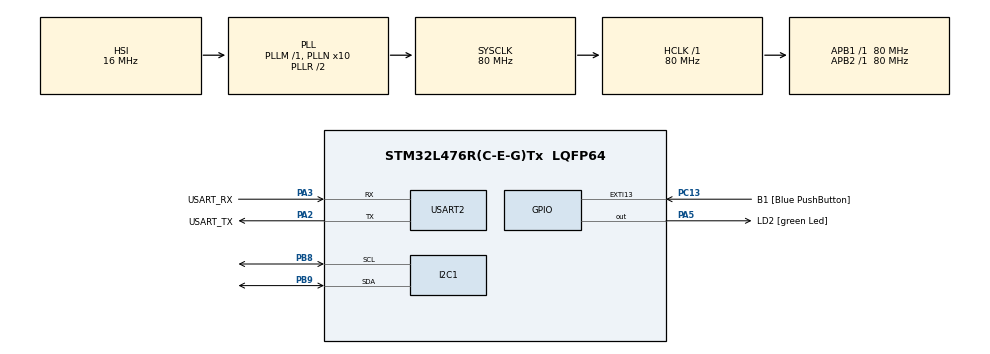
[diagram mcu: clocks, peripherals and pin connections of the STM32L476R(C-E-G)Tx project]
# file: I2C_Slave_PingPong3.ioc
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I2C1.OwnAddress=0x42
I2C1.Timing=0x10D19CE4
Mcu.Family=STM32L4
Mcu.Name=STM32L476R(C-E-G)Tx
Mcu.Package=LQFP64
NVIC.I2C1_ER_IRQn=true\:0\:0\:false\:false\:true\:true\:true\:true
NVIC.I2C1_EV_IRQn=true\:0\:0\:false\:false\:true\:true\:true\:true
NVIC.PriorityGroup=NVIC_PRIORITYGROUP_4
PA13\ (JTMS-SWDIO).GPIO_Label=TMS
PA13\ (JTMS-SWDIO).Mode=Serial_Wire
PA13\ (JTMS-SWDIO).Signal=SYS_JTMS-SWDIO
PA14\ (JTCK-SWCLK).GPIO_Label=TCK
PA14\ (JTCK-SWCLK).Mode=Serial_Wire
PA14\ (JTCK-SWCLK).Signal=SYS_JTCK-SWCLK
PA2.GPIO_Label=USART_TX
PA2.GPIO_Mode=GPIO_MODE_AF_PP
PA2.GPIO_PuPd=GPIO_NOPULL
PA2.GPIO_Speed=GPIO_SPEED_FREQ_VERY_HIGH
PA2.Mode=Asynchronous
PA2.Signal=USART2_TX
PA3.GPIO_Label=USART_RX
PA3.GPIO_Mode=GPIO_MODE_AF_PP
PA3.GPIO_PuPd=GPIO_NOPULL
PA3.GPIO_Speed=GPIO_SPEED_FREQ_VERY_HIGH
PA3.Mode=Asynchronous
PA3.Signal=USART2_RX
PA5.GPIO_Label=LD2 [green Led]
PA5.GPIO_ModeDefaultOutputPP=GPIO_MODE_OUTPUT_PP
PA5.GPIO_PuPd=GPIO_NOPULL
PA5.GPIO_Speed=GPIO_SPEED_FREQ_LOW
PA5.Signal=GPIO_Output
PB3\ (JTDO-TRACESWO).GPIO_Label=SWO
PB3\ (JTDO-TRACESWO).Signal=SYS_JTDO-SWO
PB8.GPIO_Pu=GPIO_PULLUP
PB8.Mode=I2C
PB8.Signal=I2C1_SCL
PB9.GPIO_Pu=GPIO_PULLUP
PB9.Mode=I2C
PB9.Signal=I2C1_SDA
PC13.GPIO_Label=B1 [Blue PushButton]
PC13.GPIO_ModeDefaultEXTI=GPIO_MODE_IT_FALLING
PC13.GPIO_PuPd=GPIO_NOPULL
PC13.Signal=GPXTI13
PC14-OSC32_IN\ (PC14).Mode=LSE-External-Oscillator
PC14-OSC32_IN\ (PC14).Signal=RCC_OSC32_IN
PC15-OSC32_OUT\ (PC15).Mode=LSE-External-Oscillator
PC15-OSC32_OUT\ (PC15).Signal=RCC_OSC32_OUT
PH0-OSC_IN\ (PH0).Signal=RCC_OSC_IN
PH1-OSC_OUT\ (PH1).Signal=RCC_OSC_OUT
ProjectManager.HeapSize=0x200
ProjectManager.StackSize=0x400
ProjectManager.TargetToolchain=STM32CubeIDE
RCC.ADCFreq_Value=64000000
RCC.AHBFreq_Value=80000000
RCC.APB1Freq_Value=80000000
RCC.APB1TimFreq_Value=80000000
RCC.APB2Freq_Value=80000000
RCC.APB2TimFreq_Value=80000000
RCC.CortexFreq_Value=80000000
RCC.HCLKFreq_Value=80000000
RCC.HSE_VALUE=8000000
RCC.HSI_VALUE=16000000
RCC.MSI_VALUE=4000000
RCC.PLLN=10
RCC.PLLSourceVirtual=RCC_PLLSOURCE_HSI
RCC.PREFETCH_ENABLE=1
RCC.SYSCLKFreq_VALUE=80000000
RCC.SYSCLKSource=RCC_SYSCLKSOURCE_PLLCLK
RCC.USBFreq_Value=64000000
RCC.VCOOutputFreq_Value=160000000
USART2.VirtualMode-Asynchronous=VM_ASYNC
board=NUCLEO-L476RG

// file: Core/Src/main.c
/* USER CODE BEGIN Header */
/**
  ******************************************************************************
  * @file           : main.c
  * @brief          : Main program body
  ******************************************************************************
  * @attention
  *
  * Copyright (c) 2025 STMicroelectronics.
  * All rights reserved.
  *
  * This software is licensed under terms that can be found in the LICENSE file
  * in the root directory of this software component.
  * If no LICENSE file comes with this software, it is provided AS-IS.
  *
  ******************************************************************************
  */
/* USER CODE END Header */
#include "main.h"
#include "string.h"

I2C_HandleTypeDef hi2c1;

UART_HandleTypeDef huart2;

/* USER CODE BEGIN PV */
#define PING_CMD_LEN  4
#define PONG_RSP_LEN  4

uint8_t rxData[PING_CMD_LEN];
uint8_t txData[PONG_RSP_LEN] = "PONG";
/* USER CODE END PV */

void SystemClock_Config(void);
static void MX_GPIO_Init(void);
static void MX_USART2_UART_Init(void);
static void MX_I2C1_Init(void);

int main(void)
{

  /* MCU Configuration--------------------------------------------------------*/

  /* Reset of all peripherals, Initializes the Flash interface and the Systick. */
  HAL_Init();

  /* Configure the system clock */
  SystemClock_Config();

  /* Initialize all configured peripherals */
  MX_GPIO_Init();
  MX_USART2_UART_Init();
  MX_I2C1_Init();
  /* USER CODE BEGIN 2 */
  HAL_I2C_EnableListen_IT(&hi2c1);
  /* USER CODE END 2 */

  /* Infinite loop */
  while (1)
  {

  }
}

void SystemClock_Config(void)
{
  RCC_OscInitTypeDef RCC_OscInitStruct = {0};
  RCC_ClkInitTypeDef RCC_ClkInitStruct = {0};

  /** Configure the main internal regulator output voltage
  */
  if (HAL_PWREx_ControlVoltageScaling(PWR_REGULATOR_VOLTAGE_SCALE1) != HAL_OK)
  {
    Error_Handler();
  }

  /** Initializes the RCC Oscillators according to the specified parameters
  * in the RCC_OscInitTypeDef structure.
  */
  RCC_OscInitStruct.OscillatorType = RCC_OSCILLATORTYPE_HSI;
  RCC_OscInitStruct.HSIState = RCC_HSI_ON;
  RCC_OscInitStruct.HSICalibrationValue = RCC_HSICALIBRATION_DEFAULT;
  RCC_OscInitStruct.PLL.PLLState = RCC_PLL_ON;
  RCC_OscInitStruct.PLL.PLLSource = RCC_PLLSOURCE_HSI;
  RCC_OscInitStruct.PLL.PLLM = 1;
  RCC_OscInitStruct.PLL.PLLN = 10;
  RCC_OscInitStruct.PLL.PLLP = RCC_PLLP_DIV7;
  RCC_OscInitStruct.PLL.PLLQ = RCC_PLLQ_DIV2;
  RCC_OscInitStruct.PLL.PLLR = RCC_PLLR_DIV2;
  if (HAL_RCC_OscConfig(&RCC_OscInitStruct) != HAL_OK)
  {
    Error_Handler();
  }

  /** Initializes the CPU, AHB and APB buses clocks
  */
  RCC_ClkInitStruct.ClockType = RCC_CLOCKTYPE_HCLK|RCC_CLOCKTYPE_SYSCLK
                              |RCC_CLOCKTYPE_PCLK1|RCC_CLOCKTYPE_PCLK2;
  RCC_ClkInitStruct.SYSCLKSource = RCC_SYSCLKSOURCE_PLLCLK;
  RCC_ClkInitStruct.AHBCLKDivider = RCC_SYSCLK_DIV1;
  RCC_ClkInitStruct.APB1CLKDivider = RCC_HCLK_DIV1;
  RCC_ClkInitStruct.APB2CLKDivider = RCC_HCLK_DIV1;

  if (HAL_RCC_ClockConfig(&RCC_ClkInitStruct, FLASH_LATENCY_4) != HAL_OK)
  {
    Error_Handler();
  }
}

static void MX_I2C1_Init(void)
{

  hi2c1.Instance = I2C1;
  hi2c1.Init.Timing = 0x10D19CE4;
  hi2c1.Init.OwnAddress1 = 132;
  hi2c1.Init.AddressingMode = I2C_ADDRESSINGMODE_7BIT;
  hi2c1.Init.DualAddressMode = I2C_DUALADDRESS_DISABLE;
  hi2c1.Init.OwnAddress2 = 0;
  hi2c1.Init.OwnAddress2Masks = I2C_OA2_NOMASK;
  hi2c1.Init.GeneralCallMode = I2C_GENERALCALL_DISABLE;
  hi2c1.Init.NoStretchMode = I2C_NOSTRETCH_DISABLE;
  if (HAL_I2C_Init(&hi2c1) != HAL_OK)
  {
    Error_Handler();
  }

  /** Configure Analogue filter
  */
  if (HAL_I2CEx_ConfigAnalogFilter(&hi2c1, I2C_ANALOGFILTER_ENABLE) != HAL_OK)
  {
    Error_Handler();
  }

  /** Configure Digital filter
  */
  if (HAL_I2CEx_ConfigDigitalFilter(&hi2c1, 0) != HAL_OK)
  {
    Error_Handler();
  }

}

static void MX_USART2_UART_Init(void)
{

  huart2.Instance = USART2;
  huart2.Init.BaudRate = 115200;
  huart2.Init.WordLength = UART_WORDLENGTH_8B;
  huart2.Init.StopBits = UART_STOPBITS_1;
  huart2.Init.Parity = UART_PARITY_NONE;
  huart2.Init.Mode = UART_MODE_TX_RX;
  huart2.Init.HwFlowCtl = UART_HWCONTROL_NONE;
  huart2.Init.OverSampling = UART_OVERSAMPLING_16;
  huart2.Init.OneBitSampling = UART_ONE_BIT_SAMPLE_DISABLE;
  huart2.AdvancedInit.AdvFeatureInit = UART_ADVFEATURE_NO_INIT;
  if (HAL_UART_Init(&huart2) != HAL_OK)
  {
    Error_Handler();
  }

}

static void MX_GPIO_Init(void)
{
  GPIO_InitTypeDef GPIO_InitStruct = {0};

  /* GPIO Ports Clock Enable */
  __HAL_RCC_GPIOC_CLK_ENABLE();
  __HAL_RCC_GPIOH_CLK_ENABLE();
  __HAL_RCC_GPIOA_CLK_ENABLE();
  __HAL_RCC_GPIOB_CLK_ENABLE();

  /*Configure GPIO pin Output Level */
  HAL_GPIO_WritePin(LD2_GPIO_Port, LD2_Pin, GPIO_PIN_RESET);

  /*Configure GPIO pin : B1_Pin */
  GPIO_InitStruct.Pin = B1_Pin;
  GPIO_InitStruct.Mode = GPIO_MODE_IT_FALLING;
  GPIO_InitStruct.Pull = GPIO_NOPULL;
  HAL_GPIO_Init(B1_GPIO_Port, &GPIO_InitStruct);

  /*Configure GPIO pin : LD2_Pin */
  GPIO_InitStruct.Pin = LD2_Pin;
  GPIO_InitStruct.Mode = GPIO_MODE_OUTPUT_PP;
  GPIO_InitStruct.Pull = GPIO_NOPULL;
  GPIO_InitStruct.Speed = GPIO_SPEED_FREQ_LOW;
  HAL_GPIO_Init(LD2_GPIO_Port, &GPIO_InitStruct);

}

/* USER CODE BEGIN 4 */
/* USER CODE BEGIN 4 */

/**
  * @brief  Callback d'Adresse : Appelé quand le Maître (RPi) adresse le STM32.
  * @note   Cette fonction décide si la transaction sera une Écriture (PING) ou une Lecture (PONG).
  */
void HAL_I2C_AddrCallback(I2C_HandleTypeDef *hi2c, uint8_t TransferDirection, uint16_t AddrMatchCode)
{
  if (TransferDirection == I2C_DIRECTION_TRANSMIT)
  {
    // Master veut écrire (nous envoie PING)
    // On se prépare à recevoir PING_CMD_LEN (4) octets
    HAL_I2C_Slave_Seq_Receive_IT(hi2c, rxData, PING_CMD_LEN, I2C_FIRST_AND_LAST_FRAME);
  }
  else
  {
    // Master veut lire (attend PONG)
    // On envoie PONG_RSP_LEN (4) octets
    HAL_I2C_Slave_Seq_Transmit_IT(hi2c, txData, PONG_RSP_LEN, I2C_FIRST_AND_LAST_FRAME);
  }
}

/**
  * @brief  Callback de Fin de Réception : Appelé APRÈS que le Maître a écrit sur le STM32.
  */
void HAL_I2C_SlaveRxCpltCallback(I2C_HandleTypeDef *hi2c)
{
  // VÉRIFICATION DE LA COMMANDE "PING"
  if (strncmp((char*)rxData, "PING", PING_CMD_LEN) == 0)
  {
    // Si PING est reçu, notre buffer txData ("PONG") est prêt à être envoyé lors du READ suivant.
    // NOTE : Si la réponse doit être dynamique, c'est ici qu'on met à jour txData.
  }

  // Ré-armer l'écoute générale, prêt pour la prochaine transaction (READ ou WRITE)
  HAL_I2C_EnableListen_IT(hi2c);
}

/**
  * @brief  Callback de Fin de Transmission : Appelé APRÈS que le STM32 a envoyé sa réponse (PONG).
  */
void HAL_I2C_SlaveTxCpltCallback(I2C_HandleTypeDef *hi2c)
{
  // La réponse a été envoyée. On ré-arme l'écoute.
  HAL_I2C_EnableListen_IT(hi2c);
}

/**
  * @brief  Callback de Fin d'Écoute : Appelé si l'écoute s'est terminée sans transaction.
  * @note   Sert de filet de sécurité pour ré-armer l'écoute.
  */
void HAL_I2C_ListenCpltCallback(I2C_HandleTypeDef *hi2c)
{
  HAL_I2C_EnableListen_IT(hi2c);
}

/**
  * @brief  Callback d'Erreur : Gère les problèmes (NACK, timeout, etc.).
  */
void HAL_I2C_ErrorCallback(I2C_HandleTypeDef *hi2c)
{
  // Réinitialiser complètement en cas d'erreur critique
  HAL_I2C_DeInit(hi2c);
  MX_I2C1_Init(); // Ré-initialiser la configuration matérielle
  HAL_I2C_EnableListen_IT(hi2c); // Ré-armer l'écoute
}

/* USER CODE END 4 */
/* USER CODE END 4 */

void Error_Handler(void)
{
  __disable_irq();
  while (1)
  {
  }
}
